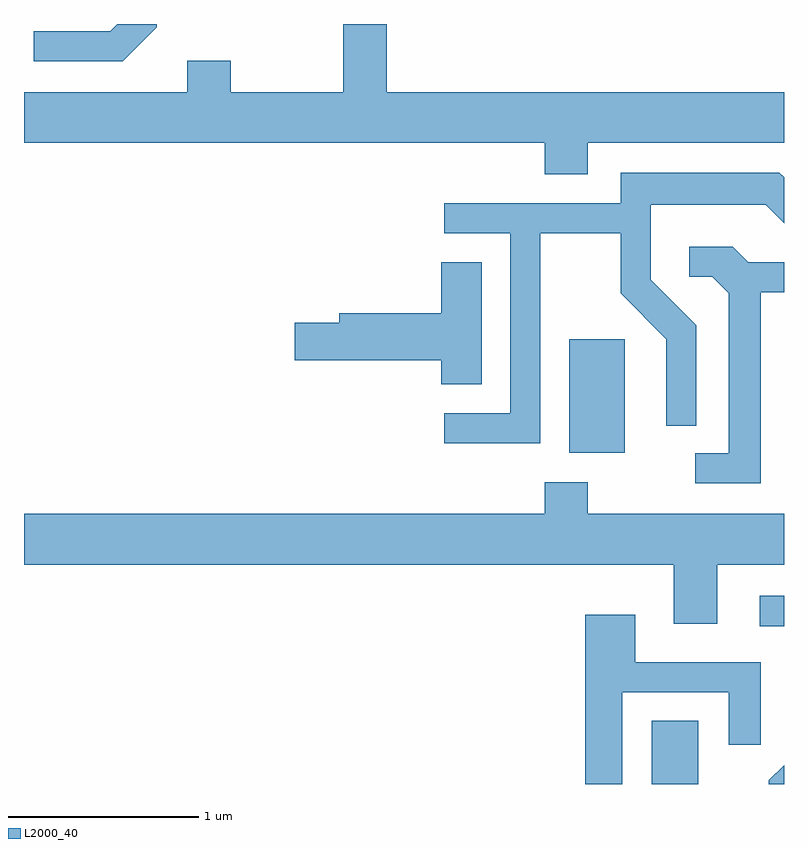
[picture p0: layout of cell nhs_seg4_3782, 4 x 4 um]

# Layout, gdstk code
import gdstk
lib = gdstk.Library(unit=1e-6, precision=1e-09)
def R(c, l, rs):  # rectangles x0, y0, x1, y1
    for r in rs: c.add(gdstk.rectangle(r[:2], r[2:], *l))
def P(c, l, *ps):  # polygons
    for p in ps: c.add(gdstk.Polygon(p, *l))
L2000_40 = (2000, 40)

nhs_seg4_3782 = lib.new_cell('nhs_seg4_3782')
R(nhs_seg4_3782, L2000_40, [(298.916,1337.982,299.159,1338.314), (299.483,1338.811,299.611,1338.974), (298.481,1339.726,298.774,1340.324)])
P(nhs_seg4_3782, L2000_40, [(298.579,1341.356),(299.611,1341.356),(299.611,1341.624),(297.519,1341.624),(297.519,1341.982),(297.291,1341.982),(297.291,1341.624),(296.699,1341.624),(296.699,1341.789),(296.471,1341.789),(296.471,1341.624),(295.611,1341.624),(295.611,1341.356),(298.351,1341.356),(298.351,1341.191),(298.579,1341.191)],
  [(296.309,1341.964),(296.309,1341.982),(296.102,1341.982),(296.064,1341.944),(295.663,1341.944),(295.663,1341.786),(296.132,1341.786)],
  [(298.329,1340.881),(298.751,1340.881),(298.751,1340.564),(298.991,1340.324),(298.991,1339.868),(299.149,1339.868),(299.149,1340.397),(298.909,1340.637),(298.909,1341.031),(299.514,1341.031),(299.611,1340.934),(299.611,1341.175),(299.587,1341.199),(298.751,1341.199),(298.751,1341.039),(297.823,1341.039),(297.823,1340.881),(298.171,1340.881),(298.171,1339.934),(297.823,1339.934),(297.823,1339.776),(298.329,1339.776)],
  [(299.489,1340.571),(299.611,1340.571),(299.611,1340.729),(299.422,1340.729),(299.342,1340.809),(299.113,1340.809),(299.113,1340.651),(299.234,1340.651),(299.321,1340.564),(299.321,1339.724),(299.143,1339.724),(299.143,1339.566),(299.489,1339.566)],
  [(298.019,1340.729),(297.806,1340.729),(297.806,1340.459),(297.271,1340.459),(297.271,1340.409),(297.036,1340.409),(297.036,1340.211),(297.806,1340.211),(297.806,1340.086),(298.019,1340.086)],
  [(299.259,1339.136),(299.611,1339.136),(299.611,1339.404),(298.579,1339.404),(298.579,1339.569),(298.351,1339.569),(298.351,1339.404),(295.611,1339.404),(295.611,1339.136),(299.031,1339.136),(299.031,1338.826),(299.259,1338.826)],
  [(298.759,1338.466),(299.321,1338.466),(299.321,1338.188),(299.489,1338.188),(299.489,1338.624),(298.829,1338.624),(298.829,1338.874),(298.566,1338.874),(298.566,1337.982),(298.759,1337.982)],
  [(299.611,1338.082),(299.531,1338.002),(299.531,1337.982),(299.611,1337.982)])

lib.write_gds('nhs_seg4_3782.gds')
